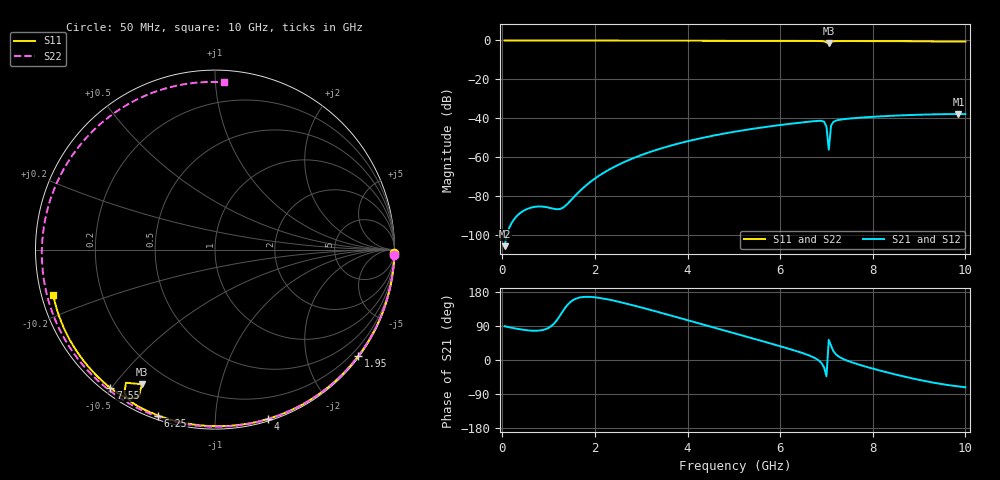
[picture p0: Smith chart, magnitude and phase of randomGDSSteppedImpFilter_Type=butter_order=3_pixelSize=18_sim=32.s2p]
! freq	dB(S11)	phase(S11)	dB(S12)	phase(S12)
!  dB(S21)	phase(S21)	dB(S22)	phase(S22)
!S-par simulation data
#  GHz  S  DB  R 50
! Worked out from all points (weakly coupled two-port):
!   200 points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, 50 MHz to 10 GHz, reference 50 ohm
!   highest |S21| = -37.77 dB at 9.85 GHz (marker M1); lowest = -105.6 dB at 50 MHz (marker M2)
!   lowest |S11| = -1.4 dB at 7.05 GHz (marker M3), VSWR 12.64, Z = 5.35 - j29.5 ohm
!   |S11| at or under -10 dB: nowhere
!   |S22| runs from -0.6 to 0.0 dB; largest |S21 - S12| = 0
!   S11 on the Smith chart (normalised r, x): 50 MHz: open; 1.95 GHz: 0.03, -3.01; 4 GHz: 0.02, -1.36; 6.25 GHz: 0.02, -0.71; 7.55 GHz: 0.02, -0.50; 10 GHz: 0.03, -0.14
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0.05  -0.00 -1.0  -105.59 89.2  -105.59 89.2  -0.00 -1.6
0.75  -0.02 -14.3  -85.26 77.3  -85.26 77.3  -0.03 -23.3
1.55  -0.04 -29.4  -80.30 159.6  -80.30 159.6  -0.06 -47.4
1.75  -0.04 -33.1  -75.61 166.3  -75.61 166.3  -0.07 -53.3
1.95  -0.05 -36.7  -71.73 166.1  -71.73 166.1  -0.07 -59.1
2.6  -0.06 -48.5  -62.77 151.2  -62.77 151.2  -0.10 -77.4
3.4  -0.08 -62.6  -55.63 125.5  -55.63 125.5  -0.12 -98.7
4  -0.10 -72.8  -51.74 105.1  -51.74 105.1  -0.15 -114.1
5.05  -0.14 -90.0  -46.70 69.2  -46.70 69.2  -0.20 -139.9
5.65  -0.17 -99.5  -44.51 48.6  -44.51 48.6  -0.24 -154.3
6.25  -0.20 -108.9  -42.68 27.3  -42.68 27.3  -0.28 -168.8
6.7  -0.24 -116.3  -41.51 8.1  -41.51 8.1  -0.31 -179.8
6.95  -0.50 -122.4  -41.70 -20.2  -41.70 -20.2  -0.33 174.0
7  -0.99 -123.7  -44.26 -43.1  -44.26 -43.1  -0.34 172.7
7.05  -1.38 -118.5  -56.09 53.1  -56.09 53.1  -0.34 171.5
7.1  -0.70 -117.4  -43.61 37.5  -43.61 37.5  -0.34 170.2
7.15  -0.45 -119.1  -41.82 23.3  -41.82 23.3  -0.35 169.0
7.55  -0.30 -127.1  -39.97 -6.2  -39.97 -6.2  -0.38 158.7
8.35  -0.36 -139.2  -38.73 -34.0  -38.73 -34.0  -0.45 137.1
9.15  -0.45 -151.2  -38.01 -56.1  -38.01 -56.1  -0.52 113.8
9.85  -0.55 -161.8  -37.77 -69.8  -37.77 -69.8  -0.59 91.7
10  -0.57 -164.2  -37.79 -71.8  -37.79 -71.8  -0.60 86.8
